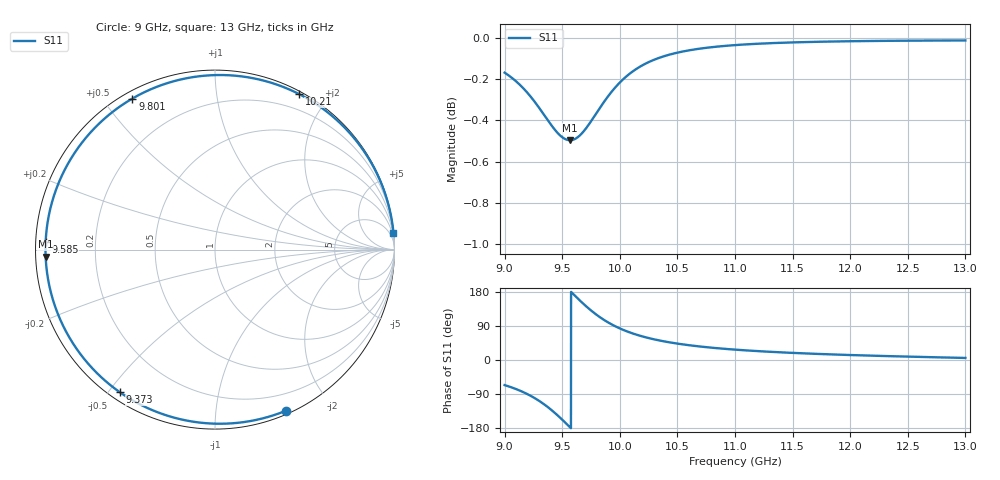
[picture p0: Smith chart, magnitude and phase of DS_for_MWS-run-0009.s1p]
! TOUCHSTONE file generated by CST DESIGN STUDIO
! Date and time: Tue Feb  4 13:48:53 2025
! Project name: C:\Work\MatlabApps\UnitCellOptimizationMatlab\CST\unitcell.cst
! Tree item: Tasks\Sweep1\SPara1\S-Parameters
! Header version: 2024
! Port assignment regex: !\s*Touchstone port\s*([0-9]+)\s*=\s*(CST MWS port|CST DES external port|CST DES block port)\s*(.+)\s* \(\"(.*)\"\)(\s*mode\s*([0-9]+))?.*
! Touchstone port assignment:
! Touchstone port 1 = CST DES external port 1 ("")
# GHz S MA R 50
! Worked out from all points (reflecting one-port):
!   4001 points, 9 GHz to 13 GHz, reference 50 ohm
!   lowest |S11| = -0.5 dB at 9.568 GHz (marker M1), VSWR 34.99, Z = 1.43 - j1.05 ohm
!   phase of S11 starts at -66 deg and turns -288 deg over the sweep
!   S11 on the Smith chart (normalised r, x): 9 GHz: 0.03, -1.53; 9.373 GHz: 0.03, -0.53; 9.585 GHz: 0.03, +0.02; 9.801 GHz: 0.03, +0.59; 10.21 GHz: 0.03, +1.68; 13 GHz: 0, +21
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9  0.9808 -66.2
9.043  0.979 -70.4
9.11  0.9755 -78.0
9.225  0.9678 -94.3
9.303  0.9614 -108.5
9.373  0.9552 -123.8
9.435  0.9501 -139.3
9.5  0.946 -157.4
9.535  0.9448 -167.7
9.568  0.9444 -177.6
9.585  0.9445 177.3
9.64  0.9463 160.9
9.701  0.9503 143.6
9.751  0.9546 130.5
9.801  0.9592 118.7
9.844  0.9632 109.5
9.891  0.9674 100.5
10  0.9754 83.4
10.098  0.9809 71.5
10.205  0.9852 61.5
10.341  0.989 51.7
10.5  0.9919 43.2
10.721  0.9943 34.8
11  0.9961 27.4
11.5  0.9976 18.7
12  0.9982 13.1
12.5  0.9985 8.9
13  0.9987 5.4
